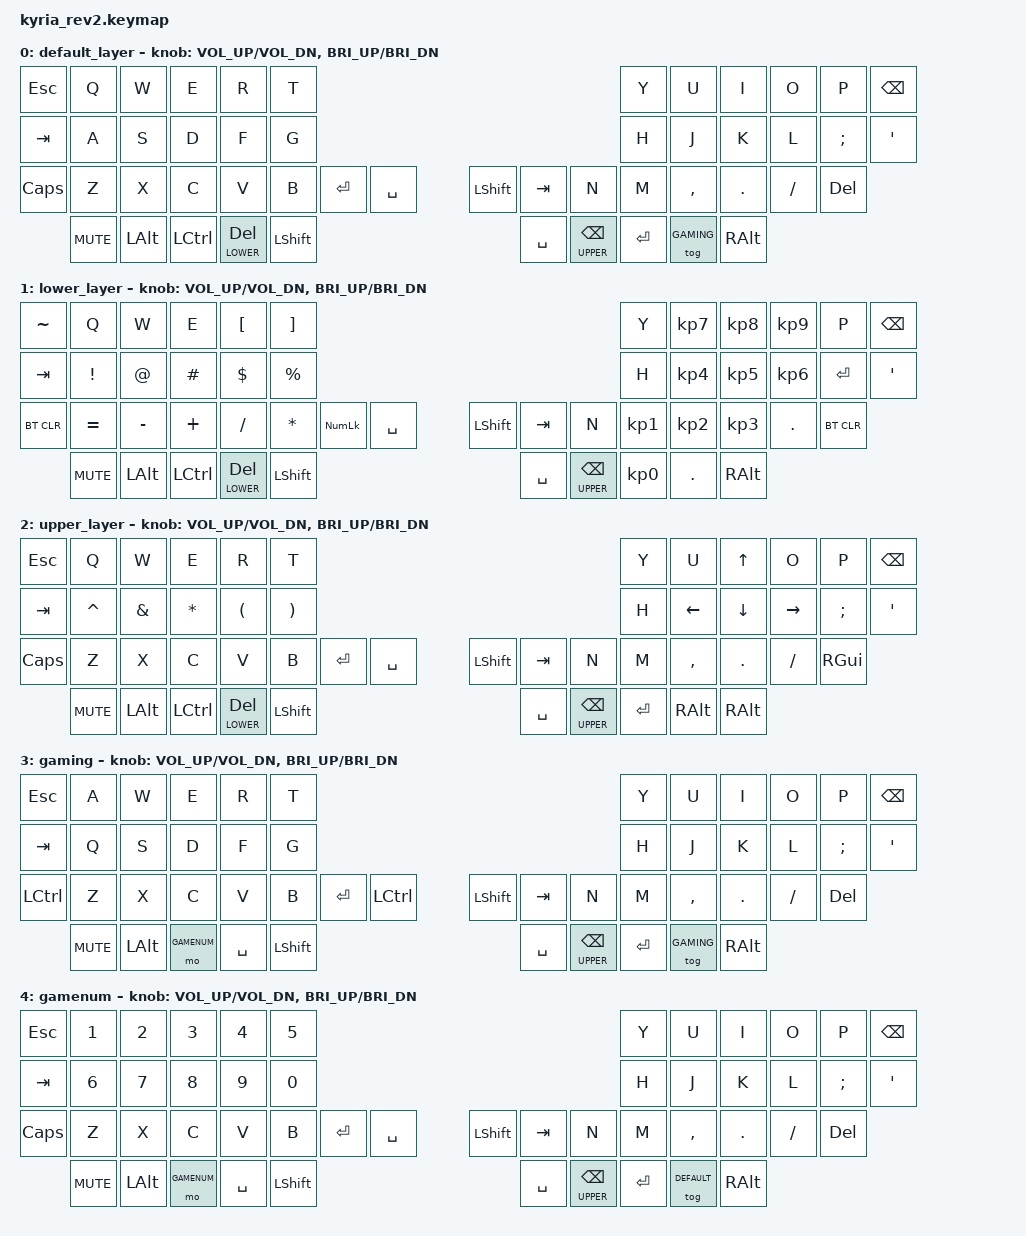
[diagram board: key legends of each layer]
/*
 * Copyright (c) 2020 The ZMK Contributors
 *
 * SPDX-License-Identifier: MIT
 */

#include <behaviors.dtsi>
#include <dt-bindings/zmk/bt.h>
#include <dt-bindings/zmk/keys.h>

#define DEFAULT 0
#define LOWER 1
#define UPPER 2
#define GAMING 3
#define GAMENUM 4

/ {
	keymap {
		compatible = "zmk,keymap";

		default_layer {
// 20---------------------------------------------------------------------------------------------------------------------------------
// |  ESC  |  Q  |  W  |  E   |  R   |  T   |                                          |  Y   |  U    |  I    |  O   |   P   | BSPC |
// |  TAB  |  A  |  S  |  D   |  F   |  G   |                                          |  H   |  J    |  K    |  L   |   ;   |   '  |
// | CAPS  |  Z  |  X  |  C   |  V   |  B   |  RET  |  SPACE  |        | L SHIFT | TAB |  N   |  M    |  ,    |  .   |   /   | RGUI |
//                     | MUTE |LALT |LCTRL |LOWER DEL|LSHFT |           | SPACE | UPPER BSPC| RET  | GAMING | RALT |
			bindings = <
	&kp ESC   &kp Q &kp W &kp E &kp R &kp T                                                &kp Y &kp U  &kp I     &kp O   &kp P    &kp BSPC
	&kp TAB   &kp A &kp S &kp D &kp F &kp G                                                &kp H &kp J  &kp K     &kp L   &kp SEMI &kp SQT
	&kp CAPS &kp Z &kp X &kp C &kp V &kp B &kp RET &kp SPACE        &kp LSHFT &kp TAB &kp N &kp M  &kp COMMA &kp DOT &kp FSLH &kp DEL
	       &kp K_MUTE &kp LALT &kp LCTRL &lt LOWER DEL &kp LSHFT       &kp SPACE &lt UPPER BSPC &kp RET &tog GAMING &kp RALT
/*30*/			>;

			sensor-bindings = <&inc_dec_kp C_VOL_UP C_VOL_DN &inc_dec_kp C_BRI_UP C_BRI_DN>;
		};

		lower_layer {
// ---------------------------------------------------------------------------------------------------------------------------------
// |  ~  | Q   |  W  |  E   |  [   |  ]  |                                          |  Y   |  7    |  8    |  9   |   P   | BSPC |
// |  TAB  |EXCL |  AT | HASH | DLLR |PRCNT |                                          |  H   |  4    |  5    |  6   |   RET |   '  |
// |BT_CLR |  =  |  -  |  +   |  /   |  *   | KP_NUM |  SPACE  |   | L SHIFT | TAB |  N   |  1    |  2    |  3   |   .   | BT_CLR |
//                     | MUTE |LALT |LCTRL |LOWER DEL|LSHFT |         | SPACE | UPPER BSPC|  0  |   .   | RALT |
			bindings = <
	&kp TILDE &kp Q &kp W &kp E &kp LBKT &kp RBKT                                                &kp Y &kp KP_N7 &kp KP_N8 &kp KP_N9   &kp P    &kp BSPC
	&kp TAB  &kp EXCL &kp AT &kp HASH &kp DLLR &kp PRCNT                                   &kp H &kp KP_N4 &kp KP_N5 &kp KP_N6   &kp RET  &kp SQT 
  &bt BT_CLR &kp EQUAL &kp MINUS &kp PLUS &kp FSLH &kp STAR &kp KP_NUM   &kp SPACE &kp LSHFT &kp TAB &kp N &kp KP_N1 &kp KP_N2 &kp KP_N3 &kp DOT &bt BT_CLR
	       &kp K_MUTE &kp LALT &kp LCTRL &lt LOWER DEL &kp LSHFT       &kp SPACE &lt UPPER BSPC &kp KP_N0 &kp DOT &kp RALT
			>;

			sensor-bindings = <&inc_dec_kp C_VOL_UP C_VOL_DN &inc_dec_kp C_BRI_UP C_BRI_DN>;
		};

		upper_layer {
// ---------------------------------------------------------------------------------------------------------------------------------
// |  ESC  |  Q  |  W  |  E   |  R   |  T   |                                          |  Y   |  U    |UP_ARROW|  O   |   P   | BSPC  |
// |  TAB  |CARET|AMPS | STAR | LPAR | RPAR |                                          |  H   |LEFT_ARROW|DOWN_ARROW|RIGHT_ARROW|   ;   |   '  |
// | CAPS  |  Z  |  X  |  C   |  V   |  B   |  RET  |  SPACE  |    | L SHIFT |  TAB  |  N   |  M    |  ,    |  .   |   /   | RGUI |
//                     | MUTE |LALT |LCTRL |LOWER DEL|LSHFT |      | SPACE | UPPER BSPC| RET  | RALT | RALT |
			bindings = <
	&kp ESC   &kp Q &kp W &kp E &kp R &kp T                                                &kp Y &kp U  &kp UP_ARROW  &kp O   &kp P    &kp BSPC
	&kp TAB   &kp CARET &kp AMPS &kp STAR &kp LPAR &kp RPAR                           &kp H &kp LEFT_ARROW &kp DOWN_ARROW &kp RIGHT_ARROW   &kp SEMI &kp SQT
	&kp CAPS &kp Z &kp X &kp C &kp V &kp B &kp RET &kp SPACE                 &kp LSHFT &kp TAB &kp N &kp M  &kp COMMA &kp DOT &kp FSLH &kp RGUI
	       &kp K_MUTE &kp LALT &kp LCTRL &lt LOWER DEL &kp LSHFT               &kp SPACE &lt UPPER BSPC &kp RET &kp RALT &kp RALT
			>;

			sensor-bindings = <&inc_dec_kp C_VOL_UP C_VOL_DN &inc_dec_kp C_BRI_UP C_BRI_DN>;
		};

		gaming {
// 20---------------------------------------------------------------------------------------------------------------------------------
// |  ESC  |  A  |  W  |  E   |  R   |  T   |                                          |  Y   |  U    |  I    |  O   |   P   | BSPC |
// |  TAB  |  Q  |  S  |  D   |  F   |  G   |                                          |  H   |  J    |  K    |  L   |   ;   |   '  |
// | LTCRL  |  Z  |  X  |  C   |  V   |  B   |  RET  |  SPACE  |        | L SHIFT | TAB |  N   |  M    |  ,    |  .   |   /   | RGUI |
//                     | MUTE |LALT | GAMENUM| SPACE |LSHFT  |           | SPACE | UPPER BSPC| RET  | DEFAULT | RALT |
			bindings = <
	&kp ESC   &kp A &kp W &kp E &kp R &kp T                                                &kp Y &kp U  &kp I     &kp O   &kp P    &kp BSPC
	&kp TAB   &kp Q &kp S &kp D &kp F &kp G                                                &kp H &kp J  &kp K     &kp L   &kp SEMI &kp SQT
	&kp LCTRL &kp Z &kp X &kp C &kp V &kp B &kp RET &kp LCTRL        &kp LSHFT &kp TAB &kp N &kp M  &kp COMMA &kp DOT &kp FSLH &kp DEL
	       &kp K_MUTE &kp LALT &mo GAMENUM &kp SPACE &kp LSHFT       &kp SPACE &lt UPPER BSPC &kp RET &tog GAMING &kp RALT
/*30*/			>;

			sensor-bindings = <&inc_dec_kp C_VOL_UP C_VOL_DN &inc_dec_kp C_BRI_UP C_BRI_DN>;
		};

		gamenum {
// 20---------------------------------------------------------------------------------------------------------------------------------
// |  ESC  |  1  |  2  |  3   |  4   |  5   |                                          |  Y   |  U    |  I    |  O   |   P   | BSPC |
// |  TAB  |  6  |  7  |  8   |  9   |  0   |                                          |  H   |  J    |  K    |  L   |   ;   |   '  |
// | CAPS  |  Z  |  X  |  C   |  V   |  B   |  RET  |  SPACE  |        | L SHIFT | TAB |  N   |  M    |  ,    |  .   |   /   | RGUI |
//                     | MUTE |LALT |LCTRL |LOWER DEL|LSHFT |           | SPACE | UPPER BSPC| RET  | DEFAULT | RALT |
			bindings = <
	&kp ESC   &kp N1 &kp N2 &kp N3 &kp N4 &kp N5                                       &kp Y &kp U  &kp I     &kp O   &kp P    &kp BSPC
	&kp TAB   &kp N6 &kp N7 &kp N8 &kp N9 &kp N0                                       &kp H &kp J  &kp K     &kp L   &kp SEMI &kp SQT
	&kp CAPS &kp Z &kp X &kp C &kp V &kp B &kp RET &kp SPACE        &kp LSHFT &kp TAB &kp N &kp M  &kp COMMA &kp DOT &kp FSLH &kp DEL
	       &kp K_MUTE &kp LALT &mo GAMENUM &kp SPACE &kp LSHFT       &kp SPACE &lt UPPER BSPC &kp RET &tog DEFAULT &kp RALT
/*30*/			>;

			sensor-bindings = <&inc_dec_kp C_VOL_UP C_VOL_DN &inc_dec_kp C_BRI_UP C_BRI_DN>;
		};

	};
};
